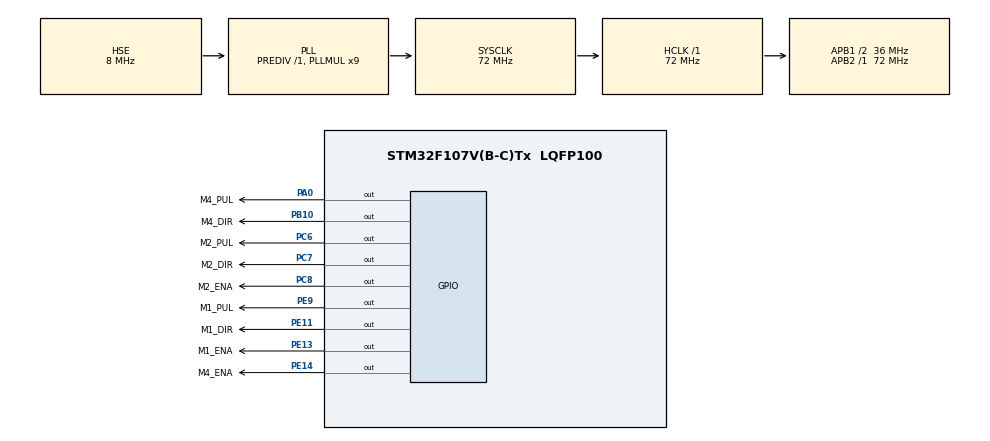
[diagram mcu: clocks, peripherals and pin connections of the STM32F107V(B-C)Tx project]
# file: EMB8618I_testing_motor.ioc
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Mcu.Family=STM32F1
Mcu.Name=STM32F107V(B-C)Tx
Mcu.Package=LQFP100
NVIC.PriorityGroup=NVIC_PRIORITYGROUP_4
OSC_IN.Mode=HSE-External-Oscillator
OSC_IN.Signal=RCC_OSC_IN
OSC_OUT.Mode=HSE-External-Oscillator
OSC_OUT.Signal=RCC_OSC_OUT
PA0-WKUP.GPIO_Label=M4_PUL
PA0-WKUP.Signal=GPIO_Output
PA13.Mode=Serial_Wire
PA13.Signal=SYS_JTMS-SWDIO
PA14.Mode=Serial_Wire
PA14.Signal=SYS_JTCK-SWCLK
PB10.GPIO_Label=M4_DIR
PB10.Signal=GPIO_Output
PC14-OSC32_IN.Mode=LSE-External-Oscillator
PC14-OSC32_IN.Signal=RCC_OSC32_IN
PC15-OSC32_OUT.Mode=LSE-External-Oscillator
PC15-OSC32_OUT.Signal=RCC_OSC32_OUT
PC6.GPIO_Label=M2_PUL
PC6.Signal=GPIO_Output
PC7.GPIO_Label=M2_DIR
PC7.Signal=GPIO_Output
PC8.GPIO_Label=M2_ENA
PC8.Signal=GPIO_Output
PE11.GPIO_Label=M1_DIR
PE11.Signal=GPIO_Output
PE13.GPIO_Label=M1_ENA
PE13.Signal=GPIO_Output
PE14.GPIO_Label=M4_ENA
PE14.Signal=GPIO_Output
PE9.GPIO_Label=M1_PUL
PE9.Signal=GPIO_Output
ProjectManager.HeapSize=0x200
ProjectManager.StackSize=0x400
ProjectManager.TargetToolchain=MDK-ARM V5.32
RCC.AHBFreq_Value=72000000
RCC.APB1CLKDivider=RCC_HCLK_DIV2
RCC.APB1Freq_Value=36000000
RCC.APB1TimFreq_Value=72000000
RCC.APB2Freq_Value=72000000
RCC.APB2TimFreq_Value=72000000
RCC.HCLKFreq_Value=72000000
RCC.PLLMUL=RCC_PLL_MUL9
RCC.PLLSourceVirtual=RCC_PLLSOURCE_HSE
RCC.SYSCLKFreq_VALUE=72000000
RCC.SYSCLKSource=RCC_SYSCLKSOURCE_PLLCLK
RCC.USBFreq_Value=48000000
board=custom

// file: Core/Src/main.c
/* USER CODE BEGIN Header */
/**
  ******************************************************************************
  * @file           : main.c
  * @brief          : Main program body
  ******************************************************************************
  * @attention
  *
  * Copyright (c) 2023 STMicroelectronics.
  * All rights reserved.
  *
  * This software is licensed under terms that can be found in the LICENSE file
  * in the root directory of this software component.
  * If no LICENSE file comes with this software, it is provided AS-IS.
  *
  ******************************************************************************
  */
/* USER CODE END Header */
#include "main.h"

void SystemClock_Config(void);
static void MX_GPIO_Init(void);

int main(void)
{

  /* MCU Configuration--------------------------------------------------------*/

  /* Reset of all peripherals, Initializes the Flash interface and the Systick. */
  HAL_Init();

  /* Configure the system clock */
  SystemClock_Config();

  /* Initialize all configured peripherals */
  MX_GPIO_Init();
  /* USER CODE BEGIN 2 */
	// Motor 1
	HAL_GPIO_WritePin(M1_ENA_GPIO_Port,M1_ENA_Pin,GPIO_PIN_SET);			// Disable Motor 1 PE13
	HAL_GPIO_WritePin(M1_DIR_GPIO_Port,M1_DIR_Pin,GPIO_PIN_RESET);
	HAL_GPIO_WritePin(M1_PUL_GPIO_Port,M1_PUL_Pin,GPIO_PIN_SET);
	// Motor 2
	HAL_GPIO_WritePin(M2_ENA_GPIO_Port,M2_ENA_Pin,GPIO_PIN_SET);			// Disable Motor 2 PC8
	HAL_GPIO_WritePin(M2_DIR_GPIO_Port,M2_DIR_Pin,GPIO_PIN_RESET);
	HAL_GPIO_WritePin(M2_PUL_GPIO_Port,M2_PUL_Pin,GPIO_PIN_SET);

  /* USER CODE END 2 */

  /* Infinite loop */
  /* USER CODE BEGIN WHILE */

	while (1)
  {
		/*
		//HAL_GPIO_WritePin(M1_DIR_GPIO_Port,M1_DIR_Pin,GPIO_PIN_RESET);		// Clockwise rotation
		HAL_GPIO_WritePin(M1_PUL_GPIO_Port,M1_PUL_Pin,GPIO_PIN_RESET);
		HAL_Delay(20);
		HAL_GPIO_WritePin(M1_PUL_GPIO_Port,M1_PUL_Pin,GPIO_PIN_SET);
		HAL_Delay(20);
		Delay 20 ~~ 16 microstep
		Delay 10 ~~ 8 microstep
		Delay 5 ~~ 4 microstep
		*/
		HAL_GPIO_WritePin(M1_ENA_GPIO_Port,M1_ENA_Pin,GPIO_PIN_RESET);			// Enable Motor 1 PE13
		HAL_GPIO_WritePin(M2_ENA_GPIO_Port,M2_ENA_Pin,GPIO_PIN_RESET);			// Enable Motor 2 PC8
		HAL_GPIO_WritePin(M1_DIR_GPIO_Port,M1_DIR_Pin,GPIO_PIN_RESET);			// Clockwise rotation	PE11
		HAL_GPIO_WritePin(M1_DIR_GPIO_Port,M1_DIR_Pin,GPIO_PIN_RESET);			// Clockwise rotation	PC7

		for(int x = 0; x<=1000; x++){
			if(x <= 500)
			{
				HAL_GPIO_WritePin(M1_PUL_GPIO_Port,M1_PUL_Pin,GPIO_PIN_RESET);	// Motor 1 Pulse PE9
				HAL_GPIO_WritePin(M2_PUL_GPIO_Port,M2_PUL_Pin,GPIO_PIN_RESET);	// Motor 2 Pulse PC6

				HAL_Delay(5);

				HAL_GPIO_WritePin(M1_PUL_GPIO_Port,M1_PUL_Pin,GPIO_PIN_SET);		// Motor 1 Pulse PE9
				HAL_GPIO_WritePin(M2_PUL_GPIO_Port,M2_PUL_Pin,GPIO_PIN_SET);		// Motor 2 Pulse PC6

				HAL_Delay(5);
			}
			else
			{
				HAL_GPIO_WritePin(M1_PUL_GPIO_Port,M1_PUL_Pin,GPIO_PIN_RESET);	// Motor 1 Pulse PE9

				HAL_Delay(5);

				HAL_GPIO_WritePin(M1_PUL_GPIO_Port,M1_PUL_Pin,GPIO_PIN_SET);		// Motor 1 Pulse PE9

				HAL_Delay(5);
			}
		}

		HAL_Delay(500);

		HAL_GPIO_WritePin(M1_DIR_GPIO_Port,M1_DIR_Pin,GPIO_PIN_SET);		// Anti-Clockwise rotation	PE11
		HAL_GPIO_WritePin(M2_DIR_GPIO_Port,M2_DIR_Pin,GPIO_PIN_SET);		// Anti-Clockwise rotation	PC7

		for(int x = 0; x<=1000; x++){
			if(x <= 500)
			{
				HAL_GPIO_WritePin(M1_PUL_GPIO_Port,M1_PUL_Pin,GPIO_PIN_RESET);	// Motor 1 Pulse PE9
				HAL_GPIO_WritePin(M2_PUL_GPIO_Port,M2_PUL_Pin,GPIO_PIN_RESET);	// Motor 2 Pulse PC6

				HAL_Delay(5);

				HAL_GPIO_WritePin(M1_PUL_GPIO_Port,M1_PUL_Pin,GPIO_PIN_SET);		// Motor 1 Pulse PE9
				HAL_GPIO_WritePin(M2_PUL_GPIO_Port,M2_PUL_Pin,GPIO_PIN_SET);		// Motor 2 Pulse PC6

				HAL_Delay(5);
			}
			else
			{
				HAL_GPIO_WritePin(M2_PUL_GPIO_Port,M2_PUL_Pin,GPIO_PIN_RESET);	// Motor 2 Pulse PC6

				HAL_Delay(5);

				HAL_GPIO_WritePin(M2_PUL_GPIO_Port,M2_PUL_Pin,GPIO_PIN_SET);		// Motor 2 Pulse PC6

				HAL_Delay(5);

			}
		}

    //printf("Hello");
    /* USER CODE END WHILE */

  }
}

void SystemClock_Config(void)
{
  RCC_OscInitTypeDef RCC_OscInitStruct = {0};
  RCC_ClkInitTypeDef RCC_ClkInitStruct = {0};

  /** Initializes the RCC Oscillators according to the specified parameters
  * in the RCC_OscInitTypeDef structure.
  */
  RCC_OscInitStruct.OscillatorType = RCC_OSCILLATORTYPE_HSE;
  RCC_OscInitStruct.HSEState = RCC_HSE_ON;
  RCC_OscInitStruct.HSEPredivValue = RCC_HSE_PREDIV_DIV1;
  RCC_OscInitStruct.HSIState = RCC_HSI_ON;
  RCC_OscInitStruct.Prediv1Source = RCC_PREDIV1_SOURCE_HSE;
  RCC_OscInitStruct.PLL.PLLState = RCC_PLL_ON;
  RCC_OscInitStruct.PLL.PLLSource = RCC_PLLSOURCE_HSE;
  RCC_OscInitStruct.PLL.PLLMUL = RCC_PLL_MUL9;
  RCC_OscInitStruct.PLL2.PLL2State = RCC_PLL_NONE;
  if (HAL_RCC_OscConfig(&RCC_OscInitStruct) != HAL_OK)
  {
    Error_Handler();
  }

  /** Initializes the CPU, AHB and APB buses clocks
  */
  RCC_ClkInitStruct.ClockType = RCC_CLOCKTYPE_HCLK|RCC_CLOCKTYPE_SYSCLK
                              |RCC_CLOCKTYPE_PCLK1|RCC_CLOCKTYPE_PCLK2;
  RCC_ClkInitStruct.SYSCLKSource = RCC_SYSCLKSOURCE_PLLCLK;
  RCC_ClkInitStruct.AHBCLKDivider = RCC_SYSCLK_DIV1;
  RCC_ClkInitStruct.APB1CLKDivider = RCC_HCLK_DIV2;
  RCC_ClkInitStruct.APB2CLKDivider = RCC_HCLK_DIV1;

  if (HAL_RCC_ClockConfig(&RCC_ClkInitStruct, FLASH_LATENCY_2) != HAL_OK)
  {
    Error_Handler();
  }

  /** Configure the Systick interrupt time
  */
  __HAL_RCC_PLLI2S_ENABLE();
}

static void MX_GPIO_Init(void)
{
  GPIO_InitTypeDef GPIO_InitStruct = {0};

  /* GPIO Ports Clock Enable */
  __HAL_RCC_GPIOC_CLK_ENABLE();
  __HAL_RCC_GPIOA_CLK_ENABLE();
  __HAL_RCC_GPIOE_CLK_ENABLE();
  __HAL_RCC_GPIOB_CLK_ENABLE();

  /*Configure GPIO pin Output Level */
  HAL_GPIO_WritePin(M4_PUL_GPIO_Port, M4_PUL_Pin, GPIO_PIN_RESET);

  /*Configure GPIO pin Output Level */
  HAL_GPIO_WritePin(GPIOE, M1_PUL_Pin|M1_DIR_Pin|M1_ENA_Pin|M4_ENA_Pin, GPIO_PIN_RESET);

  /*Configure GPIO pin Output Level */
  HAL_GPIO_WritePin(M4_DIR_GPIO_Port, M4_DIR_Pin, GPIO_PIN_RESET);

  /*Configure GPIO pin Output Level */
  HAL_GPIO_WritePin(GPIOC, M2_PUL_Pin|M2_DIR_Pin|M2_ENA_Pin, GPIO_PIN_RESET);

  /*Configure GPIO pin : M4_PUL_Pin */
  GPIO_InitStruct.Pin = M4_PUL_Pin;
  GPIO_InitStruct.Mode = GPIO_MODE_OUTPUT_PP;
  GPIO_InitStruct.Pull = GPIO_NOPULL;
  GPIO_InitStruct.Speed = GPIO_SPEED_FREQ_LOW;
  HAL_GPIO_Init(M4_PUL_GPIO_Port, &GPIO_InitStruct);

  /*Configure GPIO pins : M1_PUL_Pin M1_DIR_Pin M1_ENA_Pin M4_ENA_Pin */
  GPIO_InitStruct.Pin = M1_PUL_Pin|M1_DIR_Pin|M1_ENA_Pin|M4_ENA_Pin;
  GPIO_InitStruct.Mode = GPIO_MODE_OUTPUT_PP;
  GPIO_InitStruct.Pull = GPIO_NOPULL;
  GPIO_InitStruct.Speed = GPIO_SPEED_FREQ_LOW;
  HAL_GPIO_Init(GPIOE, &GPIO_InitStruct);

  /*Configure GPIO pin : M4_DIR_Pin */
  GPIO_InitStruct.Pin = M4_DIR_Pin;
  GPIO_InitStruct.Mode = GPIO_MODE_OUTPUT_PP;
  GPIO_InitStruct.Pull = GPIO_NOPULL;
  GPIO_InitStruct.Speed = GPIO_SPEED_FREQ_LOW;
  HAL_GPIO_Init(M4_DIR_GPIO_Port, &GPIO_InitStruct);

  /*Configure GPIO pins : M2_PUL_Pin M2_DIR_Pin M2_ENA_Pin */
  GPIO_InitStruct.Pin = M2_PUL_Pin|M2_DIR_Pin|M2_ENA_Pin;
  GPIO_InitStruct.Mode = GPIO_MODE_OUTPUT_PP;
  GPIO_InitStruct.Pull = GPIO_NOPULL;
  GPIO_InitStruct.Speed = GPIO_SPEED_FREQ_LOW;
  HAL_GPIO_Init(GPIOC, &GPIO_InitStruct);

}

void Error_Handler(void)
{
  __disable_irq();
  while (1)
  {
  }
}
